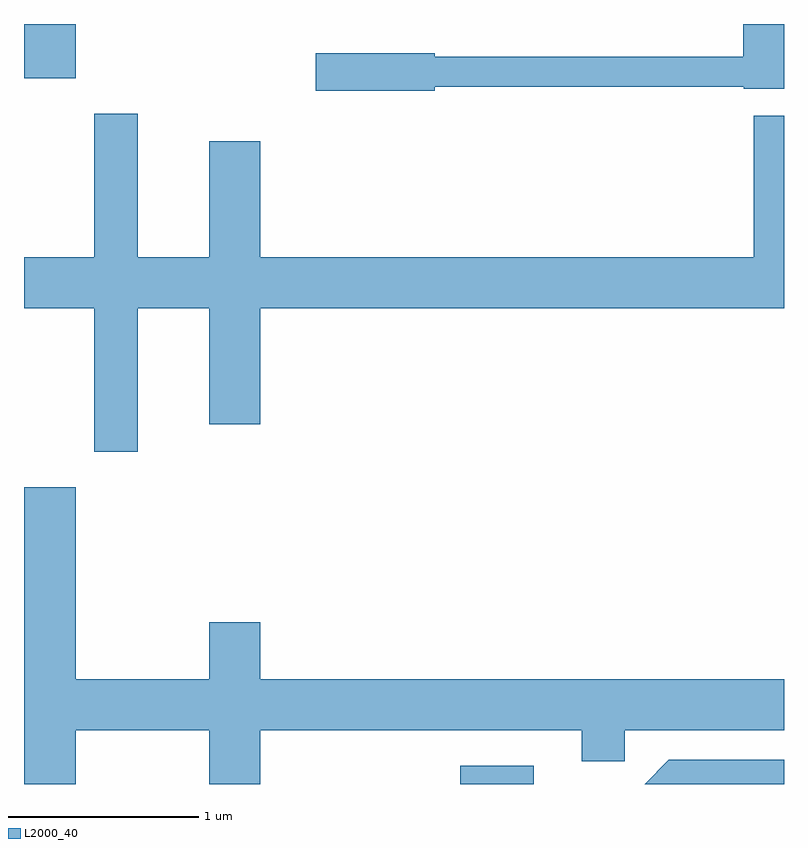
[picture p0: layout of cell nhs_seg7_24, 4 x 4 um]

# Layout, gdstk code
import gdstk
lib = gdstk.Library(unit=1e-6, precision=1e-09)
def R(c, l, rs):  # rectangles x0, y0, x1, y1
    for r in rs: c.add(gdstk.rectangle(r[:2], r[2:], *l))
def P(c, l, *ps):  # polygons
    for p in ps: c.add(gdstk.Polygon(p, *l))
L2000_40 = (2000, 40)

nhs_seg7_24 = lib.new_cell('nhs_seg7_24')
R(nhs_seg7_24, L2000_40, [(187.906,1716.252,188.293,1716.349), (185.611,1719.966,185.884,1720.252)])
P(nhs_seg7_24, L2000_40, [(187.774,1719.921),(189.4,1719.921),(189.4,1719.911),(189.611,1719.911),(189.611,1720.252),(189.396,1720.252),(189.396,1720.079),(187.774,1720.079),(187.774,1720.099),(187.146,1720.099),(187.146,1719.901),(187.774,1719.901)],
  [(186.209,1718.756),(186.586,1718.756),(186.586,1718.146),(186.854,1718.146),(186.854,1718.756),(189.611,1718.756),(189.611,1719.768),(189.451,1719.768),(189.451,1719.024),(186.854,1719.024),(186.854,1719.634),(186.586,1719.634),(186.586,1719.024),(186.209,1719.024),(186.209,1719.779),(185.981,1719.779),(185.981,1719.024),(185.611,1719.024),(185.611,1718.756),(185.981,1718.756),(185.981,1718.001),(186.209,1718.001)],
  [(185.884,1716.536),(186.586,1716.536),(186.586,1716.252),(186.854,1716.252),(186.854,1716.536),(188.546,1716.536),(188.546,1716.371),(188.774,1716.371),(188.774,1716.536),(189.611,1716.536),(189.611,1716.804),(186.854,1716.804),(186.854,1717.104),(186.586,1717.104),(186.586,1716.804),(185.884,1716.804),(185.884,1717.814),(185.611,1717.814),(185.611,1716.252),(185.884,1716.252)],
  [(189.611,1716.379),(189.004,1716.379),(188.877,1716.252),(189.611,1716.252)])

lib.write_gds('nhs_seg7_24.gds')
